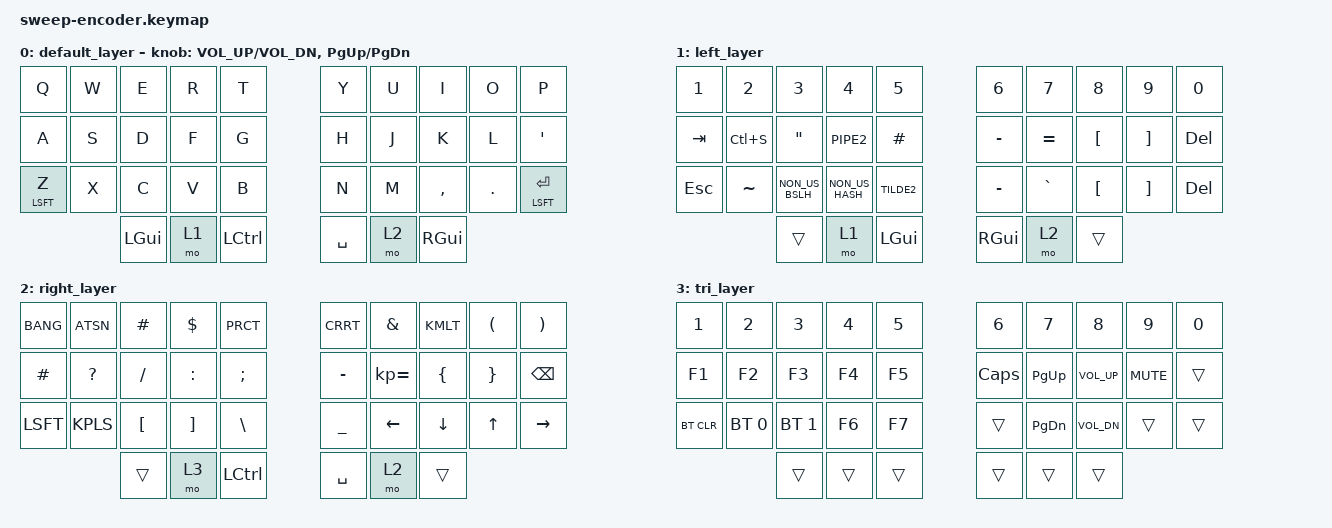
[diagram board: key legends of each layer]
/*
 * Copyright (c) 2020 The ZMK Contributors
 *
 * SPDX-License-Identifier: MIT
 */


#include <behaviors.dtsi>
#include <dt-bindings/zmk/keys.h>
#include <dt-bindings/zmk/bt.h>

&mt {
  flavor = "tap-preferred"; 
 // tapping_term_ms = <150>;
};


/ { 

    sensor-bindings = <&inc_dec_kp C_VOL_UP C_VOL_DN &inc_dec_kp PG_UP PG_DN>;


    combos {
        compatible = "zmk,combos";
        combo_esc {
            timeout-ms = <50>;
            key-positions = <0 1>;
            bindings = <&kp ESC> ;
        };
      
    combo_tab {
            timeout-ms = <50>;
            key-positions = <10 11>;
            bindings = <&kp TAB>;
        };
        
                  combo_lalt {
            timeout-ms = <50>;
            key-positions = <13 14>;
            bindings = <&kp LALT>;
        };
         combo_lgui {
            timeout-ms = <50>;
            key-positions = <11 12 >;
            bindings = <&kp LGUI>;
        };

                      combo_ralt {
            timeout-ms = <50>;
            key-positions = <15 16>;
            bindings = <&kp RALT>;
        };
           combo_rgui {
            timeout-ms = <50>;
            key-positions = <17 18>;
            bindings = <&kp RGUI>;
        };
        
             combo_del {
            timeout-ms = <50>;
            key-positions = <8 9>;
            bindings = <&kp BKSP>;
        };
        

       
    };

        keymap {
            compatible = "zmk,keymap";
                
            default_layer {
                bindings = <
                &kp Q &kp W &kp E &kp R &kp T 						&kp Y &kp U  &kp I    &kp O   &kp P 
                &kp A &kp S &kp D &kp F &kp G 			        	        &kp H &kp J &kp K &kp L &kp QUOT
                &mt LSFT Z &kp X &kp C &kp V &kp B				        &kp N &kp M  &kp CMMA &kp DOT &mt LSFT RET
            
            //	&kp Q &kp W &kp F &kp P &kp B 						&kp J &kp L  &kp U    &kp Y   &kp QUOT 
            //	&kp A &kp R &kp S &kp T &kp G 			        	        &kp M &kp N &kp E &kp I &kp O
            //	&mt LSFT Z &kp X &kp C &kp D &kp V				        &kp K &kp H &kp CMMA &kp DOT &mt LSFT RET
            
            
            
                            &kp LGUI &mo 1 &kp LCTL  				&kp SPC &mo 2 &kp RGUI
                >;

                sensor-bindings = <&inc_dec_kp C_VOL_UP C_VOL_DN &inc_dec_kp PG_UP PG_DN>;
            };

            left_layer {
                bindings = <
                &kp NUM_1  &kp NUM_2    &kp NUM_3    &kp NUM_4    &kp NUM_5		&kp NUM_6 &kp NUM_7 &kp NUM_8 &kp NUM_9 &kp NUM_0 
                &kp TAB    &kp LC(S)    &kp DQT      &kp PIPE2     &kp HASH 		&kp MINUS &kp EQL  &kp LBKT &kp RBKT  &kp DEL 
                &kp ESC    &kp TILDE 	&kp NON_US_BSLH &kp NON_US_HASH  &kp TILDE2 	&kp MINUS &kp GRAVE &kp LBKT &kp RBKT  &kp DEL 
                            &trans    &mo 1  &kp LGUI  					&kp RGUI &mo 2 &trans
                >;
            };
            
            right_layer {
                bindings = <
                &kp BANG  &kp ATSN &kp HASH  &kp DLLR  &kp PRCT    			&kp CRRT  &kp AMPS &kp KMLT &kp LPRN &kp RPRN 
                &kp HASH  &kp QMARK  &kp FSLH  &kp COLN  &kp SCLN 			&kp MINUS &kp KP_EQUAL  &kp LBRC  &kp RBRC   &kp BKSP
                &kp LSFT  &kp KPLS &kp LBKT &kp RBKT   &kp BSLH    			&kp UNDER &kp LEFT &kp DOWN &kp UP  &kp RIGHT
                        &trans &mo 3 &kp LCTL  				&kp SPC  &mo 2 &trans
                >;
            };	
            
            tri_layer {
                bindings = <
                &kp NUM_1  &kp NUM_2    &kp NUM_3    &kp NUM_4    &kp NUM_5 			&kp NUM_6  &kp NUM_7 &kp NUM_8 &kp NUM_9 &kp NUM_0 
                &kp F1 &kp F2 &kp F3 &kp F4 &kp F5  						&kp CAPS  &kp PG_UP  &kp K_VOL_UP &kp K_MUTE &trans 
                &bt BT_CLR  &bt BT_SEL 0 &bt BT_SEL 1 &kp F6 &kp F7   				&trans &kp PG_DN  &kp K_VOL_DN  &trans &trans   
                            &trans &trans &trans  					&trans &trans &trans
                >;
            };	
	};
};
